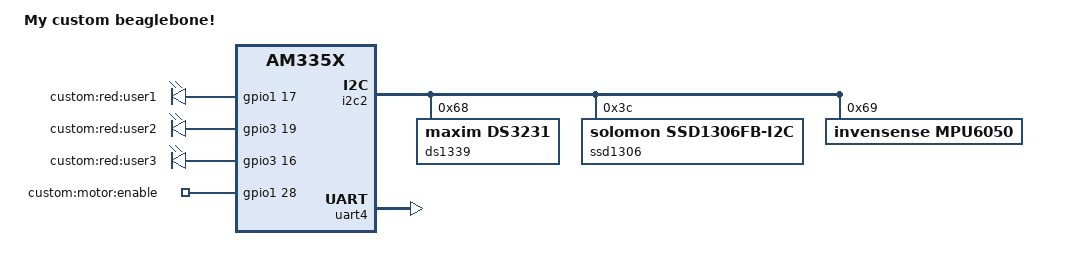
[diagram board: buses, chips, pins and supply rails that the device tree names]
/dts-v1/;
/plugin/;

#include <dt-bindings/gpio/gpio.h>
#include <dt-bindings/pinctrl/am33xx.h>

/ {
    compatible = "ti,am335x-bone-black";

    fragment@0 {
        target-path = "/";
        __overlay__ {
            model = "My custom beaglebone!";
        };
    };

    fragment@1 {
        target = <&am33xx_pinmux>;
        __overlay__ {
            bb_custom_leds_pins: pinmux-bb-custom-leds-pins {
                pinctrl-single,pins = <
                    AM33XX_PADCONF(AM335X_PIN_GPMC_A1, PIN_OUTPUT_PULLDOWN, MUX_MODE7)
                    AM33XX_PADCONF(AM335X_PIN_MCASP0_FSR, PIN_OUTPUT_PULLDOWN, MUX_MODE7)
                    AM33XX_PADCONF(AM335X_PIN_MCASP0_AXR0, PIN_OUTPUT_PULLDOWN, MUX_MODE7)
                >;
            };
            lidar_control_pins: lidar-control-pins {
                pinctrl-single,pins = <
                    AM33XX_PADCONF(AM335X_PIN_GPMC_BEN1, PIN_OUTPUT_PULLDOWN, MUX_MODE7)
                >;
            };
            lidar_serial_pins: lidar-serial-pins {
                pinctrl-single,pins = <
                    AM33XX_PADCONF(AM335X_PIN_GPMC_WAIT0, PIN_INPUT_PULLUP, MUX_MODE6)
                    AM33XX_PADCONF(AM335X_PIN_GPMC_WPN, PIN_OUTPUT_PULLUP, MUX_MODE6)
                >;
            };
        };
    };

    fragment@2 {
        target = <&ocp>;
        __overlay__ {
            custom_leds {
                compatible = "gpio-leds";
                pinctrl-names = "default";
                pinctrl-0 = <&bb_custom_leds_pins>;

                custom_led1 {
                    label = "custom:red:user1";
                    gpios = <&gpio1 17 0>;
                    linux,default-trigger = "none";
                    default-state = "off";
                };
                custom_led2 {
                    label = "custom:red:user2";
                    gpios = <&gpio3 19 0>;
                    linux,default-trigger = "none";
                    default-state = "off";
                };
                custom_led3 {
                    label = "custom:red:user3";
                    gpios = <&gpio3 16 0>;
                    linux,default-trigger = "none";
                    default-state = "off";
                };

            };
            custom_motor {
                compatible = "gpio-leds";
                pinctrl-names = "default";
                pinctrl-0 = <&lidar_control_pins>;

                custom_motor1 {
                    label = "custom:motor:enable";
                    gpios = <&gpio1 28 0>;
                    linux,default-trigger = "none";
                    default-state = "off";
                };
            };
        };
    };

    fragment@3 {
        target = <&i2c2>;
        __overlay__ {
            ds1339: rtc@68 {
                compatible = "maxim,ds3231";
                reg = <0x68>;
            };
            ssd1306: oled@3c {
                compatible = "solomon,ssd1306fb-i2c";
                reg = <0x3c>;
                solomon,width = <128>;
                solomon,height = <64>;
                solomon,page-offset = <0>;
                solomon,segment-no-remap;
                rotation = <0>;
                fps = <25>;
                buswidth = <8>;
                debug = <0>;
            };
            mpu6050@69 {
                compatible = "invensense,mpu6050";
                reg = <0x69>;
            };

        };
    };

    fragment@4 {
        target = <&rtc>;
        __overlay__ {
            status = "disabled";
        };
    };
    fragment@5 {
        target = <&uart4>;
        __overlay__ {
            pinctrl-names = "default";
            pinctrl-0 = <&lidar_serial_pins>;
            status = "okay";
        };
    };
    };
};
